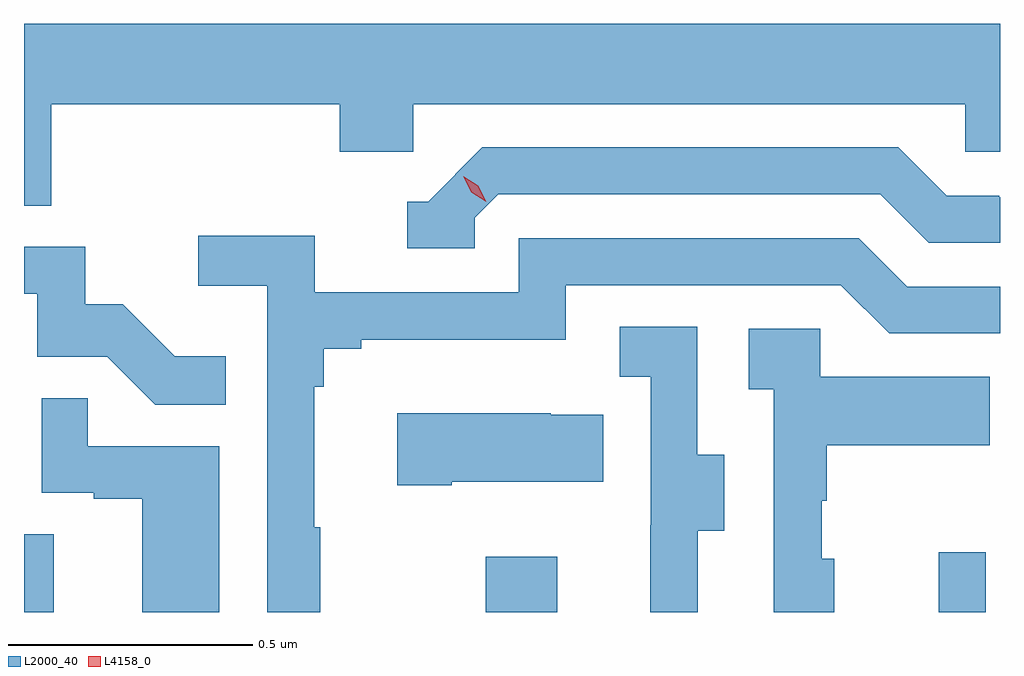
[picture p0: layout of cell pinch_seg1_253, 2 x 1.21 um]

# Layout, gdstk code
import gdstk
lib = gdstk.Library(unit=1e-6, precision=1e-09)
def R(c, l, rs):  # rectangles x0, y0, x1, y1
    for r in rs: c.add(gdstk.rectangle(r[:2], r[2:], *l))
def P(c, l, *ps):  # polygons
    for p in ps: c.add(gdstk.Polygon(p, *l))
L2000_40 = (2000, 40)
L4158_0 = (4158, 0)

pinch_seg1_253 = lib.new_cell('pinch_seg1_253')
R(pinch_seg1_253, L2000_40, [(910.134,579.995,910.195,580.154), (911.08,579.995,911.227,580.108), (912.008,579.995,912.105,580.117)])
P(pinch_seg1_253, L2000_40, [(910.19,581.036),(910.781,581.036),(910.781,580.938),(910.932,580.938),(910.932,581.036),(912.063,581.036),(912.063,580.938),(912.134,580.938),(912.134,581.2),(910.134,581.2),(910.134,580.828),(910.19,580.828)],
  [(911.058,580.803),(911.106,580.851),(911.889,580.851),(911.988,580.752),(912.134,580.752),(912.134,580.845),(912.132,580.845),(912.132,580.848),(912.025,580.848),(911.926,580.947),(911.073,580.947),(910.962,580.836),(910.919,580.836),(910.919,580.74),(911.058,580.74)],
  [(910.741,580.169),(910.729,580.169),(910.729,580.457),(910.748,580.457),(910.748,580.534),(910.825,580.534),(910.825,580.553),(911.244,580.553),(911.244,580.665),(911.808,580.665),(911.907,580.566),(912.134,580.566),(912.134,580.662),(911.944,580.662),(911.845,580.761),(911.148,580.761),(911.148,580.65),(910.73,580.65),(910.73,580.766),(910.491,580.766),(910.491,580.664),(910.632,580.664),(910.632,579.995),(910.741,579.995)],
  [(910.547,580.519),(910.443,580.519),(910.336,580.626),(910.26,580.626),(910.26,580.743),(910.134,580.743),(910.134,580.647),(910.161,580.647),(910.161,580.518),(910.305,580.518),(910.403,580.42),(910.547,580.42)],
  [(911.515,580.162),(911.569,580.162),(911.569,580.317),(911.514,580.317),(911.514,580.58),(911.355,580.58),(911.355,580.477),(911.418,580.477),(911.418,580.173),(911.417,580.173),(911.417,579.995),(911.515,579.995)],
  [(911.794,580.104),(911.769,580.104),(911.769,580.223),(911.779,580.223),(911.779,580.337),(912.113,580.337),(912.113,580.477),(911.766,580.477),(911.766,580.575),(911.619,580.575),(911.619,580.451),(911.67,580.451),(911.67,579.995),(911.794,579.995)],
  [(910.534,580.335),(910.265,580.335),(910.265,580.433),(910.17,580.433),(910.17,580.239),(910.277,580.239),(910.277,580.227),(910.376,580.227),(910.376,579.995),(910.534,579.995)],
  [(911.011,580.262),(911.321,580.262),(911.321,580.399),(911.213,580.399),(911.213,580.402),(910.899,580.402),(910.899,580.255),(911.011,580.255)])
P(pinch_seg1_253, L4158_0, [(911.081,580.836),(911.05,580.855),(911.034,580.888),(911.034,580.888),(911.034,580.888),(911.065,580.869),(911.081,580.836),(911.081,580.836)])

lib.write_gds('pinch_seg1_253.gds')
